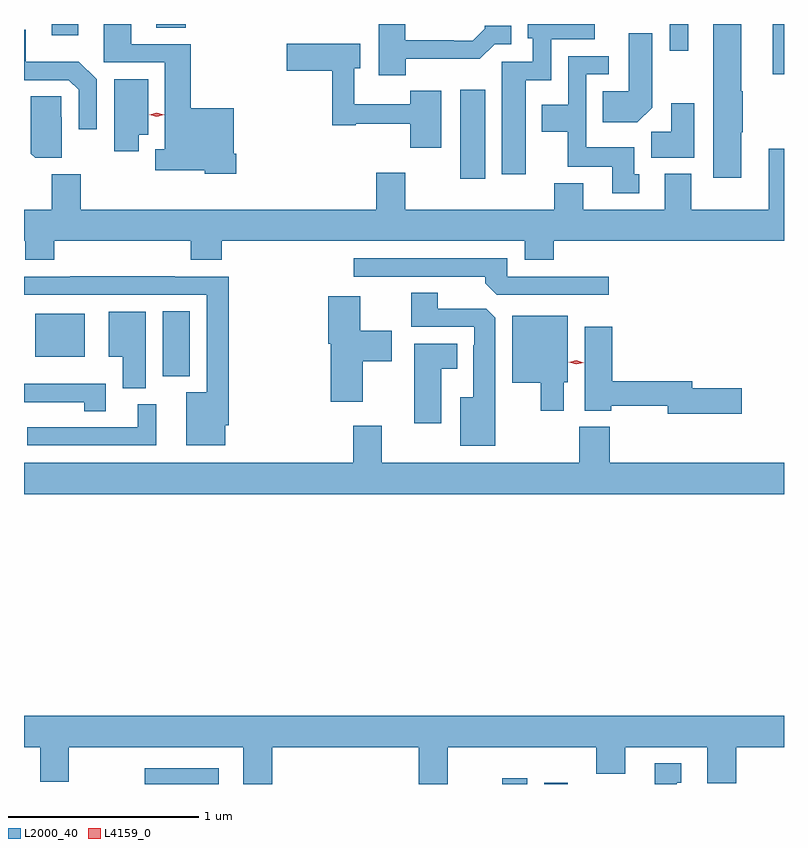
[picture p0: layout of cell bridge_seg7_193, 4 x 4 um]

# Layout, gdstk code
import gdstk
lib = gdstk.Library(unit=1e-6, precision=1e-09)
def R(c, l, rs):  # rectangles x0, y0, x1, y1
    for r in rs: c.add(gdstk.rectangle(r[:2], r[2:], *l))
def P(c, l, *ps):  # polygons
    for p in ps: c.add(gdstk.Polygon(p, *l))
L2000_40 = (2000, 40)
L4159_0 = (4159, 0)

bridge_seg7_193 = lib.new_cell('bridge_seg7_193')
R(bridge_seg7_193, L2000_40, [(400.354,1013.742,400.744,1013.824), (402.236,1013.742,402.367,1013.773), (402.455,1013.742,402.58,1013.749), (400.448,1015.889,400.591,1016.231), (399.776,1015.991,400.039,1016.218), (402.014,1016.928,402.145,1017.397), (403.658,1017.477,403.718,1017.742), (403.116,1017.6,403.213,1017.742), (399.863,1017.684,400.003,1017.742), (400.415,1017.721,400.568,1017.742)])
P(bridge_seg7_193, L2000_40, [(403.492,1017.172),(403.5,1017.172),(403.5,1017.389),(403.492,1017.389),(403.492,1017.742),(403.346,1017.742),(403.346,1016.934),(403.492,1016.934)],
  [(400.835,1017.058),(400.822,1017.058),(400.822,1017.298),(400.595,1017.298),(400.595,1017.636),(400.282,1017.636),(400.282,1017.742),(400.139,1017.742),(400.139,1017.54),(400.46,1017.54),(400.46,1017.082),(400.408,1017.082),(400.408,1016.972),(400.668,1016.972),(400.668,1016.954),(400.835,1016.954)],
  [(402.358,1017.446),(402.492,1017.446),(402.492,1017.662),(402.721,1017.662),(402.721,1017.742),(402.368,1017.742),(402.368,1017.666),(402.396,1017.666),(402.396,1017.543),(402.233,1017.543),(402.233,1016.952),(402.358,1016.952)],
  [(401.728,1017.558),(402.117,1017.558),(402.195,1017.636),(402.283,1017.636),(402.283,1017.733),(402.144,1017.733),(402.144,1017.718),(402.08,1017.654),(401.981,1017.654),(401.981,1017.657),(401.725,1017.657),(401.725,1017.742),(401.585,1017.742),(401.585,1017.473),(401.728,1017.473)],
  [(400.101,1017.45),(400.007,1017.544),(399.727,1017.544),(399.727,1017.712),(399.718,1017.712),(399.718,1017.447),(399.954,1017.447),(400.005,1017.396),(400.005,1017.189),(400.101,1017.189)],
  [(403.024,1017.302),(403.024,1017.694),(402.902,1017.694),(402.902,1017.388),(402.763,1017.388),(402.763,1017.224),(402.946,1017.224)],
  [(401.914,1017.391),(401.752,1017.391),(401.752,1017.319),(401.457,1017.319),(401.457,1017.509),(401.488,1017.509),(401.488,1017.639),(401.1,1017.639),(401.1,1017.497),(401.341,1017.497),(401.341,1017.21),(401.464,1017.21),(401.464,1017.217),(401.75,1017.217),(401.75,1017.09),(401.914,1017.09)],
  [(402.955,1016.952),(402.931,1016.952),(402.931,1017.094),(402.678,1017.094),(402.678,1017.477),(402.796,1017.477),(402.796,1017.573),(402.582,1017.573),(402.582,1017.316),(402.443,1017.316),(402.443,1017.176),(402.58,1017.176),(402.58,1016.99),(402.815,1016.99),(402.815,1016.85),(402.955,1016.85)],
  [(400.323,1017.158),(400.372,1017.158),(400.372,1017.451),(400.193,1017.451),(400.193,1017.071),(400.323,1017.071)],
  [(399.916,1017.251),(399.915,1017.251),(399.915,1017.362),(399.753,1017.362),(399.753,1017.06),(399.777,1017.037),(399.916,1017.037)],
  [(403.246,1017.325),(403.124,1017.325),(403.124,1017.176),(403.019,1017.176),(403.019,1017.038),(403.246,1017.038)],
  [(399.878,1016.6),(400.595,1016.6),(400.595,1016.501),(400.76,1016.501),(400.76,1016.6),(402.353,1016.6),(402.353,1016.501),(402.506,1016.501),(402.506,1016.6),(403.718,1016.6),(403.718,1017.085),(403.637,1017.085),(403.637,1016.764),(403.231,1016.764),(403.231,1016.953),(403.091,1016.953),(403.091,1016.764),(402.661,1016.764),(402.661,1016.905),(402.509,1016.905),(402.509,1016.764),(401.725,1016.764),(401.725,1016.959),(401.573,1016.959),(401.573,1016.764),(400.016,1016.764),(400.016,1016.952),(399.863,1016.952),(399.863,1016.764),(399.718,1016.764),(399.718,1016.6),(399.725,1016.6),(399.725,1016.501),(399.878,1016.501)],
  [(402.796,1016.412),(402.261,1016.412),(402.261,1016.508),(401.454,1016.508),(401.454,1016.412),(402.146,1016.412),(402.146,1016.378),(402.207,1016.316),(402.796,1016.316)],
  [(400.777,1015.63),(400.796,1015.63),(400.796,1016.412),(400.511,1016.412),(400.511,1016.414),(399.961,1016.414),(399.961,1016.412),(399.718,1016.412),(399.718,1016.316),(400.68,1016.316),(400.68,1015.804),(400.571,1015.804),(400.571,1015.526),(400.777,1015.526)],
  [(402.199,1016.195),(402.15,1016.244),(401.896,1016.244),(401.896,1016.327),(401.756,1016.327),(401.756,1016.148),(402.087,1016.148),(402.087,1016.051),(402.083,1016.051),(402.083,1015.777),(402.014,1015.777),(402.014,1015.523),(402.199,1015.523)],
  [(401.5,1015.966),(401.653,1015.966),(401.653,1016.128),(401.488,1016.128),(401.488,1016.308),(401.318,1016.308),(401.318,1016.059),(401.333,1016.059),(401.333,1015.755),(401.5,1015.755)],
  [(400.36,1016.227),(400.163,1016.227),(400.163,1015.991),(400.238,1015.991),(400.238,1015.825),(400.36,1015.825)],
  [(402.559,1015.857),(402.58,1015.857),(402.58,1016.206),(402.287,1016.206),(402.287,1015.853),(402.437,1015.853),(402.437,1015.707),(402.559,1015.707)],
  [(403.495,1015.826),(403.234,1015.826),(403.234,1015.862),(402.815,1015.862),(402.815,1016.149),(402.668,1016.149),(402.668,1015.706),(402.81,1015.706),(402.81,1015.734),(403.106,1015.734),(403.106,1015.691),(403.495,1015.691)],
  [(401.914,1015.928),(401.998,1015.928),(401.998,1016.059),(401.771,1016.059),(401.771,1015.641),(401.914,1015.641)],
  [(400.147,1015.849),(399.718,1015.849),(399.718,1015.751),(400.034,1015.751),(400.034,1015.705),(400.147,1015.705)],
  [(400.414,1015.74),(400.316,1015.74),(400.316,1015.62),(399.735,1015.62),(399.735,1015.524),(400.414,1015.524)],
  [(403.718,1015.432),(402.8,1015.432),(402.8,1015.621),(402.64,1015.621),(402.64,1015.432),(401.602,1015.432),(401.602,1015.627),(401.45,1015.627),(401.45,1015.432),(399.718,1015.432),(399.718,1015.268),(403.718,1015.268)],
  [(401.024,1013.936),(401.795,1013.936),(401.795,1013.742),(401.947,1013.742),(401.947,1013.936),(402.731,1013.936),(402.731,1013.795),(402.883,1013.795),(402.883,1013.936),(403.313,1013.936),(403.313,1013.747),(403.466,1013.747),(403.466,1013.936),(403.718,1013.936),(403.718,1014.1),(399.718,1014.1),(399.718,1013.936),(399.803,1013.936),(399.803,1013.755),(399.953,1013.755),(399.953,1013.936),(400.871,1013.936),(400.871,1013.742),(401.024,1013.742)],
  [(403.153,1013.748),(403.177,1013.748),(403.177,1013.851),(403.037,1013.851),(403.037,1013.742),(403.153,1013.742)])
P(bridge_seg7_193, L4159_0, [(400.416,1017.254),(400.377,1017.264),(400.377,1017.264),(400.377,1017.265),(400.416,1017.274),(400.455,1017.264),(400.455,1017.264),(400.455,1017.264)],
  [(402.625,1015.951),(402.586,1015.961),(402.586,1015.962),(402.586,1015.962),(402.625,1015.971),(402.663,1015.96),(402.664,1015.96),(402.663,1015.96)])

lib.write_gds('bridge_seg7_193.gds')
